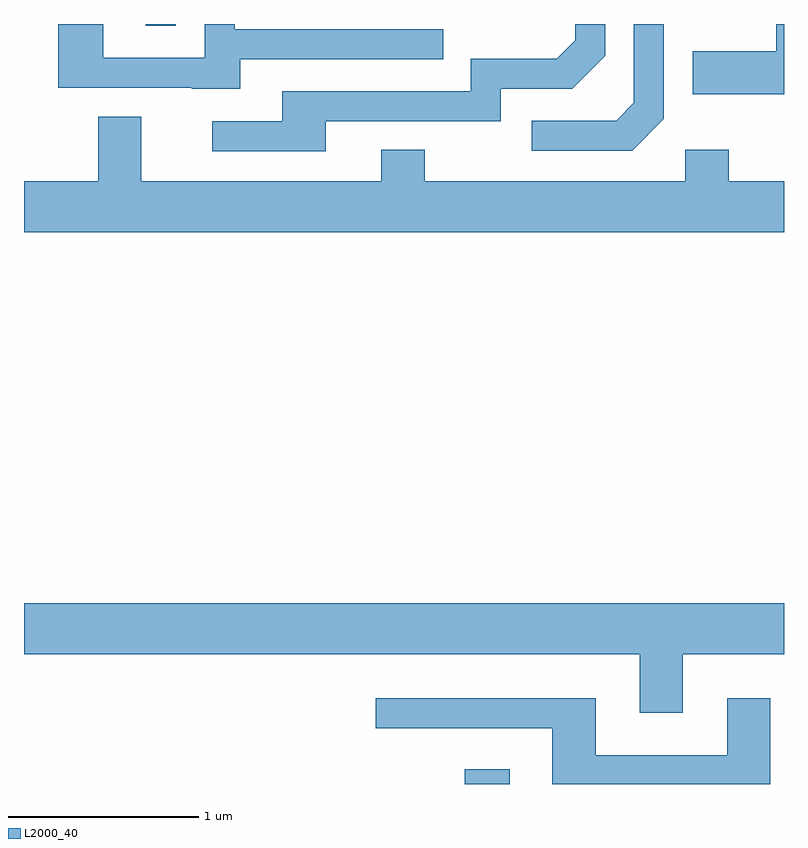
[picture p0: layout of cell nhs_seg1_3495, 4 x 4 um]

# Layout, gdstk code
import gdstk
lib = gdstk.Library(unit=1e-6, precision=1e-09)
def R(c, l, rs):  # rectangles x0, y0, x1, y1
    for r in rs: c.add(gdstk.rectangle(r[:2], r[2:], *l))
def P(c, l, *ps):  # polygons
    for p in ps: c.add(gdstk.Polygon(p, *l))
L2000_40 = (2000, 40)

nhs_seg1_3495 = lib.new_cell('nhs_seg1_3495')
R(nhs_seg1_3495, L2000_40, [(291.931,967.712,292.168,967.789), (290.251,971.703,290.409,971.712)])
P(nhs_seg1_3495, L2000_40, [(293.611,971.712),(293.571,971.712),(293.571,971.569),(293.131,971.569),(293.131,971.341),(293.611,971.341)],
  [(292.979,971.214),(292.979,971.712),(292.821,971.712),(292.821,971.297),(292.729,971.204),(292.283,971.204),(292.283,971.046),(292.812,971.046)],
  [(291.199,971.201),(292.119,971.201),(292.119,971.371),(292.497,971.371),(292.669,971.544),(292.669,971.712),(292.511,971.712),(292.511,971.627),(292.414,971.529),(291.961,971.529),(291.961,971.359),(290.971,971.359),(290.971,971.199),(290.603,971.199),(290.603,971.041),(291.199,971.041)],
  [(290.749,971.526),(291.818,971.526),(291.818,971.684),(290.719,971.684),(290.719,971.712),(290.561,971.712),(290.561,971.534),(290.029,971.534),(290.029,971.712),(289.791,971.712),(289.791,971.376),(290.495,971.376),(290.495,971.371),(290.749,971.371)],
  [(293.611,970.884),(293.319,970.884),(293.319,971.049),(293.091,971.049),(293.091,970.884),(291.719,970.884),(291.719,971.049),(291.491,971.049),(291.491,970.884),(290.229,970.884),(290.229,971.224),(290.001,971.224),(290.001,970.884),(289.611,970.884),(289.611,970.616),(293.611,970.616)],
  [(293.079,968.396),(293.611,968.396),(293.611,968.664),(289.611,968.664),(289.611,968.396),(292.851,968.396),(292.851,968.086),(293.079,968.086)],
  [(293.539,968.164),(293.311,968.164),(293.311,967.864),(292.619,967.864),(292.619,968.164),(291.463,968.164),(291.463,968.006),(292.391,968.006),(292.391,967.712),(293.539,967.712)])

lib.write_gds('nhs_seg1_3495.gds')
